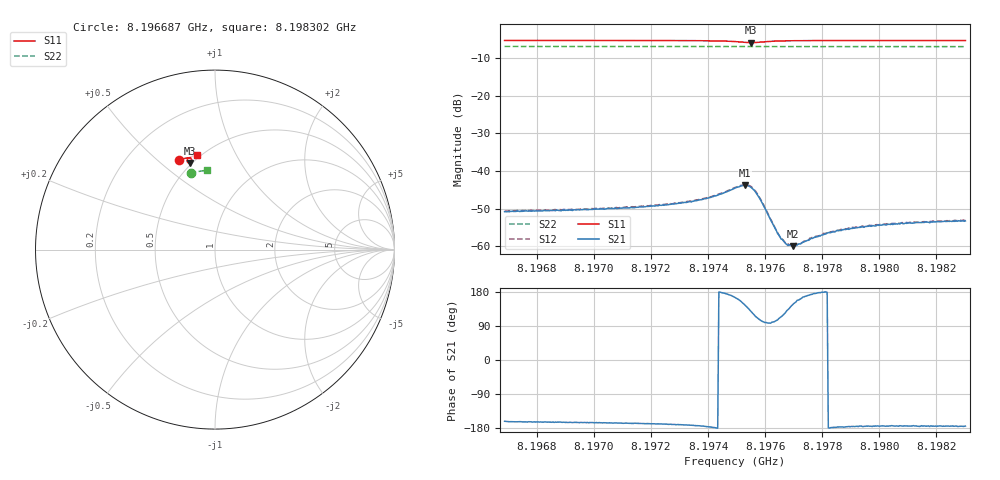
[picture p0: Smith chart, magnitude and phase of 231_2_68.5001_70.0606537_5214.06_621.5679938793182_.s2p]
#  HZ  S  RI  R  50.00
! Rohde & Schwarz Vector Network Analyzer
! Rohde-Schwarz,ZNB20-2Port,1311601062101988,3.16
! Created: UTC 3/20/2024, 5:14:03 PM
! freq[Hz]  re:S11  im:S11  re:S21  im:S21  re:S12  im:S12  re:S22  im:S22
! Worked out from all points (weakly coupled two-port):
!   401 points, 8.196687 GHz to 8.198302 GHz, reference 50 ohm
!   highest |S21| = -43.78 dB at 8.197531 GHz (marker M1); lowest = -59.9 dB at 8.197696 GHz (marker M2)
!   lowest |S11| = -6.0 dB at 8.197551 GHz (marker M3), VSWR 3.01, Z = 24.5 + j31.6 ohm
!   |S11| at or under -10 dB: nowhere
!   |S22| runs from -7.1 to -7.0 dB; largest |S21 - S12| = 0.0003
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8.1966871e9  -0.2027 0.4965  -0.00274 -0.000909  -0.00287 -0.00074  -0.1355 0.4258
8.1969575e9  -0.1837 0.5033  -0.00297 -0.000804  -0.00304 -0.000697  -0.1207 0.4297
8.1971311e9  -0.1709 0.5073  -0.0032 -0.000721  -0.0033 -0.000638  -0.1112 0.4319
8.197228e9  -0.1629 0.5094  -0.00343 -0.000693  -0.00353 -0.000565  -0.1058 0.4333
8.1973329e9  -0.1532 0.511  -0.00386 -0.000561  -0.00394 -0.0004  -0.0999 0.4343
8.1973894e9  -0.1468 0.5113  -0.00427 -0.000362  -0.00437 -0.000155  -0.0967 0.435
8.1974419e9  -0.1392 0.5096  -0.00493 7.79e-05  -0.00501 0.000298  -0.0938 0.4353
8.1974944e9  -0.1303 0.502  -0.00572 0.00153  -0.00577 0.00178  -0.0906 0.4357
8.1975307e9  -0.1302 0.4885  -0.00525 0.00377  -0.00519 0.00402  -0.0888 0.4357
8.1975509e9  -0.1384 0.4823  -0.00368 0.00477  -0.00362 0.00505  -0.0878 0.4357
8.197563e9  -0.1446 0.482  -0.00257 0.00485  -0.00242 0.00501  -0.0875 0.4359
8.1975791e9  -0.1516 0.4856  -0.00131 0.00426  -0.00117 0.00438  -0.0867 0.4362
8.1976356e9  -0.1543 0.5027  -0.000375 0.00167  -0.0003 0.0017  -0.0838 0.4372
8.1976518e9  -0.1524 0.5056  -0.000496 0.00126  -0.000429 0.00126  -0.0827 0.4373
8.197676e9  -0.1497 0.5089  -0.000685 0.00081  -0.000653 0.000856  -0.0815 0.4377
8.1976962e9  -0.1474 0.5107  -0.000834 0.000567  -0.000844 0.000657  -0.0802 0.4377
8.1977164e9  -0.145 0.5123  -0.000996 0.000399  -0.000977 0.000455  -0.0792 0.438
8.1977648e9  -0.1402 0.515  -0.00127 0.000149  -0.0013 0.000198  -0.0764 0.4384
8.1978173e9  -0.1352 0.5169  -0.00151 3.98e-05  -0.00152 6.55e-05  -0.0734 0.4389
8.1978778e9  -0.13 0.5185  -0.00168 -8.58e-05  -0.00168 -3.38e-05  -0.0699 0.4393
8.1980352e9  -0.1176 0.522  -0.00196 -0.000206  -0.00199 -0.000111  -0.061 0.4403
8.1983016e9  -0.0979 0.5257  -0.00217 -0.000216  -0.0022 -0.000104  -0.0459 0.4418
